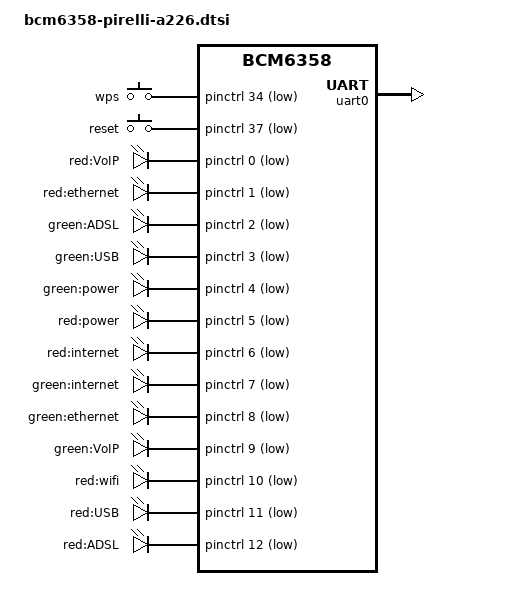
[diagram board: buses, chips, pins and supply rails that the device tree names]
#include "bcm6358.dtsi"

#include <dt-bindings/input/input.h>

/ {
	chosen {
		bootargs = "rootfstype=squashfs,jffs2 noinitrd console=ttyS0,115200";
		stdout-path = "serial0:115200n8";
	};

	keys {
		compatible = "gpio-keys-polled";
		#address-cells = <1>;
		#size-cells = <0>;
		poll-interval = <20>;

		wps {
			label = "wps";
			gpios = <&pinctrl 34 1>;
			linux,code = <KEY_WPS_BUTTON>;
			debounce-interval = <60>;
		};

		reset {
			label = "reset";
			gpios = <&pinctrl 37 1>;
			linux,code = <KEY_RESTART>;
			debounce-interval = <60>;
		};
	};

	leds {
		compatible = "gpio-leds";

		voip_red {
			label = "red:VoIP";
			gpios = <&pinctrl 0 1>;
		};
		eth_red {
			label = "red:ethernet";
			gpios = <&pinctrl 1 1>;
		};
		dsl_green {
			label = "green:ADSL";
			gpios = <&pinctrl 2 1>;
		};
		usb_green {
			label = "green:USB";
			gpios = <&pinctrl 3 1>;
		};
		power_green {
			label = "green:power";
			gpios = <&pinctrl 4 1>;
			default-state = "on";
		};
		power_red {
			label = "red:power";
			gpios = <&pinctrl 5 1>;
		};
		inet_red {
			label = "red:internet";
			gpios = <&pinctrl 6 1>;
		};
		inet_green {
			label = "green:internet";
			gpios = <&pinctrl 7 1>;
		};
		eth_green {
			label = "green:ethernet";
			gpios = <&pinctrl 8 1>;
		};
		voip_green {
			label = "green:VoIP";
			gpios = <&pinctrl 9 1>;
		};
		wifi_red {
			label = "red:wifi";
			gpios = <&pinctrl 10 1>;
		};
		usb_red {
			label = "red:USB";
			gpios = <&pinctrl 11 1>;
		};
		dsl_red {
			label = "red:ADSL";
			gpios = <&pinctrl 12 1>;
		};
	};
};

&uart0 {
	status = "okay";
};
